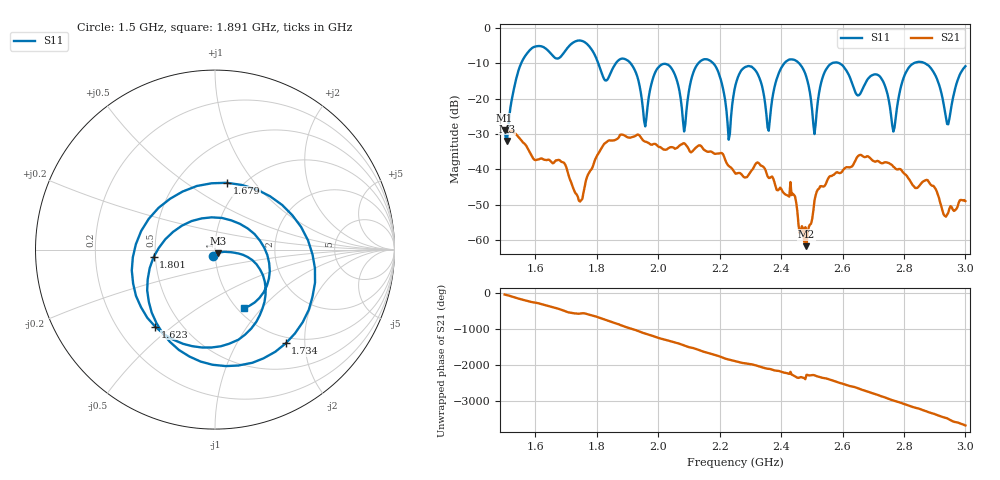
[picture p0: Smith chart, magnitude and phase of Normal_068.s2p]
# HZ S RI R 50
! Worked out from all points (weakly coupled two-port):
!   404 points, 1.5 GHz to 3 GHz, reference 50 ohm
!   highest |S21| = -28.92 dB at 1.5 GHz (marker M1); lowest = -61.7 dB at 2.483 GHz (marker M2)
!   lowest |S11| = -32.0 dB at 1.507 GHz (marker M3), VSWR 1.05, Z = 51.5 - j2.08 ohm
!   |S11| at or under -10 dB: 1.91 GHz to 2.131 GHz (220.5 MHz wide, 10.9 % of centre); 2.179 GHz to 2.411 GHz (231.7 MHz wide, 10.1 % of centre); 2.59 GHz to 2.832 GHz (242 MHz wide, 8.93 % of centre) (the widest 3 of 7)
!   S12 and S22 are empty: the file has one direction only
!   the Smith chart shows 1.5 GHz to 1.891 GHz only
!   S11 on the Smith chart (normalised r, x): 1.5 GHz: 0.98, -0.07; 1.623 GHz: 0.36, -0.44; 1.679 GHz: 0.85, +0.74; 1.734 GHz: 0.89, -1.63; 1.801 GHz: 0.49, -0.05; 1.891 GHz: 1.07, -0.81
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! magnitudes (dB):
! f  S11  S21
! 1.5 GHz  -28.7  -28.9
! 1.507 GHz  -32.0  -29.4
! 1.623 GHz  -5.3  -37.0
! 1.679 GHz  -8.4  -37.4
! 1.734 GHz  -3.7  -47.1
! 1.753 GHz  -3.7  -48.3
! 1.801 GHz  -9.2  -36.0
! 1.891 GHz  -8.8  -30.4
! 1.958 GHz  -27.8  -32.2
! 2.002 GHz  -11.0  -33.7
! 2.084 GHz  -29.3  -32.6
! 2.14 GHz  -9.2  -33.4
! 2.23 GHz  -31.6  -39.0
! 2.252 GHz  -16.1  -41.2
! 2.36 GHz  -29.1  -42.4
! 2.483 GHz  -14.0  -61.7
! 2.501 GHz  -23.4  -54.0
! 2.576 GHz  -9.8  -41.2
! 2.751 GHz  -20.4  -38.2
! 2.859 GHz  -9.7  -43.7
! 2.944 GHz  -27.2  -52.3
! 3 GHz  -10.8  -49.0
